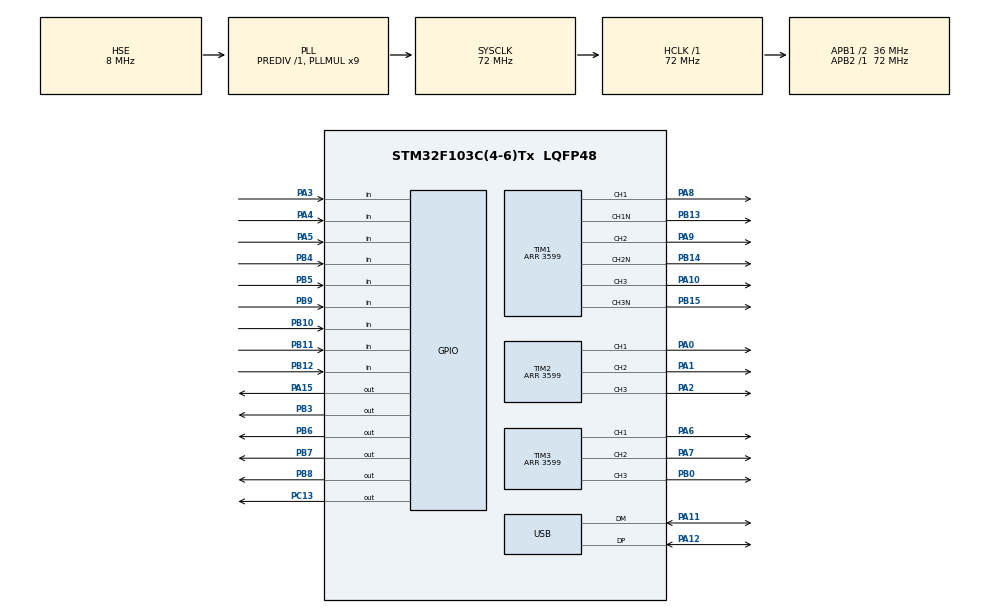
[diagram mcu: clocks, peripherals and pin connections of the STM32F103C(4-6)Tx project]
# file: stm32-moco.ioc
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Mcu.Family=STM32F1
Mcu.Name=STM32F103C(4-6)Tx
Mcu.Package=LQFP48
NVIC.PriorityGroup=NVIC_PRIORITYGROUP_4
NVIC.USB_LP_CAN1_RX0_IRQn=true\:0\:0\:false\:false\:true\:false\:true\:true
PA0-WKUP.Signal=S_TIM2_CH1_ETR
PA1.Signal=S_TIM2_CH2
PA10.Signal=S_TIM1_CH3
PA11.Mode=Device
PA11.Signal=USB_DM
PA12.Mode=Device
PA12.Signal=USB_DP
PA15.Signal=GPIO_Output
PA2.Signal=S_TIM2_CH3
PA3.Signal=GPIO_Input
PA4.Signal=GPIO_Input
PA5.Signal=GPIO_Input
PA6.Signal=S_TIM3_CH1
PA7.Signal=S_TIM3_CH2
PA8.Signal=S_TIM1_CH1
PA9.Signal=S_TIM1_CH2
PB0.Signal=S_TIM3_CH3
PB10.Signal=GPIO_Input
PB11.Signal=GPIO_Input
PB12.Signal=GPIO_Input
PB13.Mode=PWM Generation1 CH1 CH1N
PB13.Signal=TIM1_CH1N
PB14.Mode=PWM Generation2 CH2 CH2N
PB14.Signal=TIM1_CH2N
PB15.Mode=PWM Generation3 CH3 CH3N
PB15.Signal=TIM1_CH3N
PB3.Signal=GPIO_Output
PB4.Signal=GPIO_Input
PB5.Signal=GPIO_Input
PB6.Signal=GPIO_Output
PB7.Signal=GPIO_Output
PB8.Signal=GPIO_Output
PB9.Signal=GPIO_Input
PC13-TAMPER-RTC.Signal=GPIO_Output
PD0-OSC_IN.Mode=HSE-External-Oscillator
PD0-OSC_IN.Signal=RCC_OSC_IN
PD1-OSC_OUT.Mode=HSE-External-Oscillator
PD1-OSC_OUT.Signal=RCC_OSC_OUT
ProjectManager.HeapSize=0x200
ProjectManager.StackSize=0x400
ProjectManager.TargetToolchain=STM32CubeIDE
RCC.AHBFreq_Value=72000000
RCC.APB1CLKDivider=RCC_HCLK_DIV2
RCC.APB1Freq_Value=36000000
RCC.APB1TimFreq_Value=72000000
RCC.APB2Freq_Value=72000000
RCC.APB2TimFreq_Value=72000000
RCC.HCLKFreq_Value=72000000
RCC.PLLMUL=RCC_PLL_MUL9
RCC.SYSCLKFreq_VALUE=72000000
RCC.SYSCLKSource=RCC_SYSCLKSOURCE_PLLCLK
RCC.USBFreq_Value=48000000
RCC.USBPrescaler=RCC_USBCLKSOURCE_PLL_DIV1_5
SH.S_TIM1_CH1.0=TIM1_CH1,PWM Generation1 CH1 CH1N
SH.S_TIM1_CH2.0=TIM1_CH2,PWM Generation2 CH2 CH2N
SH.S_TIM1_CH3.0=TIM1_CH3,PWM Generation3 CH3 CH3N
SH.S_TIM2_CH1_ETR.0=TIM2_CH1,PWM Generation1 CH1
SH.S_TIM2_CH2.0=TIM2_CH2,PWM Generation2 CH2
SH.S_TIM2_CH3.0=TIM2_CH3,PWM Generation3 CH3
SH.S_TIM3_CH1.0=TIM3_CH1,PWM Generation1 CH1
SH.S_TIM3_CH2.0=TIM3_CH2,PWM Generation2 CH2
SH.S_TIM3_CH3.0=TIM3_CH3,PWM Generation3 CH3
TIM1.Channel-PWM\ Generation1\ CH1\ CH1N=TIM_CHANNEL_1
TIM1.Channel-PWM\ Generation2\ CH2\ CH2N=TIM_CHANNEL_2
TIM1.Channel-PWM\ Generation3\ CH3\ CH3N=TIM_CHANNEL_3
TIM1.Period=3599
TIM2.Channel-PWM\ Generation1\ CH1=TIM_CHANNEL_1
TIM2.Channel-PWM\ Generation2\ CH2=TIM_CHANNEL_2
TIM2.Channel-PWM\ Generation3\ CH3=TIM_CHANNEL_3
TIM2.Period=3599
TIM3.Channel-PWM\ Generation1\ CH1=TIM_CHANNEL_1
TIM3.Channel-PWM\ Generation2\ CH2=TIM_CHANNEL_2
TIM3.Channel-PWM\ Generation3\ CH3=TIM_CHANNEL_3
TIM3.Period=3599
USB_DEVICE.CLASS_NAME_FS=CDC
USB_DEVICE.VirtualMode=Cdc
USB_DEVICE.VirtualModeFS=Cdc_FS
VP_SYS_VS_ND.Mode=No_Debug
VP_TIM1_VS_ClockSourceINT.Mode=Internal
VP_TIM2_VS_ClockSourceINT.Mode=Internal
VP_TIM3_VS_ClockSourceINT.Mode=Internal
VP_USB_DEVICE_VS_USB_DEVICE_CDC_FS.Mode=CDC_FS
board=custom

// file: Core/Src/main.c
/* USER CODE BEGIN Header */
/**
  ******************************************************************************
  * @file           : main.c
  * @brief          : 3-axis BLDC motor controller - STM32F103C8T6 Blue Pill
  ******************************************************************************
  * Safe startup: all motor outputs default to OFF.
  * Comms: USB CDC virtual COM port (PA11/PA12) for Atomic Pi commands.
  * Debug: COMMS_Debug() sends "DBG:..." lines over same USB CDC port.
  *
  * FIRST BRING-UP CHECKLIST:
  *   1. Flash with BOOT0=1 via USB DFU or SWD.
  *   2. Connect USB to Atomic Pi. Open /dev/ttyACM0 at any baud (CDC ignores it).
  *   3. Send "P\n" - should receive "PONG\n" confirming comms.
  *   4. Send "?\n" to read all motor states (all disabled at boot).
  *   5. Enable motor 0 with "E0\n", set low duty "S0,180\n", watch Hall counts.
  *   6. Query counts with "?\n" - commut_count should increment if spinning.
  *   7. Emergency stop any time: send "DA\n".
  ******************************************************************************
  */
/* USER CODE END Header */
#include "main.h"
#include "usb_device.h"

/* USER CODE BEGIN Includes */
#include "motor_controller.h"
#include "usb_cdc_comms.h"
/* USER CODE END Includes */

/* USER CODE BEGIN PD */
#define STATUS_REPORT_INTERVAL_MS   1000U  /* Send periodic status every 1s */
#define LED_PIN                     GPIO_PIN_13
#define LED_PORT                    GPIOC
/* USER CODE END PD */

TIM_HandleTypeDef htim1;
TIM_HandleTypeDef htim2;
TIM_HandleTypeDef htim3;

/* USER CODE BEGIN PV */
static uint32_t g_last_status_ms = 0;
static uint32_t g_loop_count     = 0;
/* USER CODE END PV */

void SystemClock_Config(void);
static void MX_GPIO_Init(void);
static void MX_TIM1_Init(void);
static void MX_TIM2_Init(void);
static void MX_TIM3_Init(void);
/* USER CODE BEGIN PFP */
static void SendPeriodicStatus(void);
/* USER CODE END PFP */

int main(void)
{

  /* MCU Configuration--------------------------------------------------------*/

  /* Reset of all peripherals, Initializes the Flash interface and the Systick. */
  HAL_Init();

  /* Configure the system clock */
  SystemClock_Config();

  /* Initialize all configured peripherals */
  MX_GPIO_Init();
  MX_TIM1_Init();
  MX_TIM2_Init();
  MX_TIM3_Init();
  MX_USB_DEVICE_Init();
  /* USER CODE BEGIN 2 */

  /* --- Motor controller: safe defaults (all off) --- */
  MC_Init(&htim1, &htim3, &htim4);

  /* --- Comms layer --- */
  COMMS_Init();

  /* Blink LED once to signal ready */
  HAL_GPIO_WritePin(LED_PORT, LED_PIN, GPIO_PIN_RESET); /* LED on  */
  HAL_Delay(200);
  HAL_GPIO_WritePin(LED_PORT, LED_PIN, GPIO_PIN_SET);   /* LED off */

  COMMS_Debug("MOCO boot OK - all motors DISABLED");

  /* USER CODE END 2 */

  /* Infinite loop */
  while (1)
  {

    /* USER CODE BEGIN 3 */

    /* 1. Process incoming commands from Atomic Pi */
    COMMS_Tick();

    /* 2. Run Hall-sensor commutation for all motors */
    MC_CommutationTick();

    /* 3. Periodic status broadcast */
    uint32_t now = HAL_GetTick();
    if ((now - g_last_status_ms) >= STATUS_REPORT_INTERVAL_MS) {
        g_last_status_ms = now;
        SendPeriodicStatus();
    }

    g_loop_count++;
  }
  /* USER CODE END 3 */
}

void SystemClock_Config(void)
{
  RCC_OscInitTypeDef RCC_OscInitStruct = {0};
  RCC_ClkInitTypeDef RCC_ClkInitStruct = {0};
  RCC_PeriphCLKInitTypeDef PeriphClkInit = {0};

  /** Initializes the RCC Oscillators according to the specified parameters
  * in the RCC_OscInitTypeDef structure.
  */
  RCC_OscInitStruct.OscillatorType = RCC_OSCILLATORTYPE_HSE;
  RCC_OscInitStruct.HSEState = RCC_HSE_ON;
  RCC_OscInitStruct.HSEPredivValue = RCC_HSE_PREDIV_DIV1;
  RCC_OscInitStruct.HSIState = RCC_HSI_ON;
  RCC_OscInitStruct.PLL.PLLState = RCC_PLL_ON;
  RCC_OscInitStruct.PLL.PLLSource = RCC_PLLSOURCE_HSE;
  RCC_OscInitStruct.PLL.PLLMUL = RCC_PLL_MUL9;
  if (HAL_RCC_OscConfig(&RCC_OscInitStruct) != HAL_OK)
  {
    Error_Handler();
  }

  /** Initializes the CPU, AHB and APB buses clocks
  */
  RCC_ClkInitStruct.ClockType = RCC_CLOCKTYPE_HCLK|RCC_CLOCKTYPE_SYSCLK
                              |RCC_CLOCKTYPE_PCLK1|RCC_CLOCKTYPE_PCLK2;
  RCC_ClkInitStruct.SYSCLKSource = RCC_SYSCLKSOURCE_PLLCLK;
  RCC_ClkInitStruct.AHBCLKDivider = RCC_SYSCLK_DIV1;
  RCC_ClkInitStruct.APB1CLKDivider = RCC_HCLK_DIV2;
  RCC_ClkInitStruct.APB2CLKDivider = RCC_HCLK_DIV1;

  if (HAL_RCC_ClockConfig(&RCC_ClkInitStruct, FLASH_LATENCY_2) != HAL_OK)
  {
    Error_Handler();
  }
  PeriphClkInit.PeriphClockSelection = RCC_PERIPHCLK_USB;
  PeriphClkInit.UsbClockSelection = RCC_USBCLKSOURCE_PLL_DIV1_5;
  if (HAL_RCCEx_PeriphCLKConfig(&PeriphClkInit) != HAL_OK)
  {
    Error_Handler();
  }
}

static void MX_TIM1_Init(void)
{

  TIM_ClockConfigTypeDef sClockSourceConfig = {0};
  TIM_MasterConfigTypeDef sMasterConfig = {0};
  TIM_OC_InitTypeDef sConfigOC = {0};
  TIM_BreakDeadTimeConfigTypeDef sBreakDeadTimeConfig = {0};

  htim1.Instance = TIM1;
  htim1.Init.Prescaler = 0;
  htim1.Init.CounterMode = TIM_COUNTERMODE_UP;
  htim1.Init.Period = 3599;
  htim1.Init.ClockDivision = TIM_CLOCKDIVISION_DIV1;
  htim1.Init.RepetitionCounter = 0;
  htim1.Init.AutoReloadPreload = TIM_AUTORELOAD_PRELOAD_DISABLE;
  if (HAL_TIM_Base_Init(&htim1) != HAL_OK)
  {
    Error_Handler();
  }
  sClockSourceConfig.ClockSource = TIM_CLOCKSOURCE_INTERNAL;
  if (HAL_TIM_ConfigClockSource(&htim1, &sClockSourceConfig) != HAL_OK)
  {
    Error_Handler();
  }
  if (HAL_TIM_PWM_Init(&htim1) != HAL_OK)
  {
    Error_Handler();
  }
  sMasterConfig.MasterOutputTrigger = TIM_TRGO_RESET;
  sMasterConfig.MasterSlaveMode = TIM_MASTERSLAVEMODE_DISABLE;
  if (HAL_TIMEx_MasterConfigSynchronization(&htim1, &sMasterConfig) != HAL_OK)
  {
    Error_Handler();
  }
  sConfigOC.OCMode = TIM_OCMODE_PWM1;
  sConfigOC.Pulse = 0;
  sConfigOC.OCPolarity = TIM_OCPOLARITY_HIGH;
  sConfigOC.OCNPolarity = TIM_OCNPOLARITY_HIGH;
  sConfigOC.OCFastMode = TIM_OCFAST_DISABLE;
  sConfigOC.OCIdleState = TIM_OCIDLESTATE_RESET;
  sConfigOC.OCNIdleState = TIM_OCNIDLESTATE_RESET;
  if (HAL_TIM_PWM_ConfigChannel(&htim1, &sConfigOC, TIM_CHANNEL_1) != HAL_OK)
  {
    Error_Handler();
  }
  if (HAL_TIM_PWM_ConfigChannel(&htim1, &sConfigOC, TIM_CHANNEL_2) != HAL_OK)
  {
    Error_Handler();
  }
  if (HAL_TIM_PWM_ConfigChannel(&htim1, &sConfigOC, TIM_CHANNEL_3) != HAL_OK)
  {
    Error_Handler();
  }
  sBreakDeadTimeConfig.OffStateRunMode = TIM_OSSR_DISABLE;
  sBreakDeadTimeConfig.OffStateIDLEMode = TIM_OSSI_DISABLE;
  sBreakDeadTimeConfig.LockLevel = TIM_LOCKLEVEL_OFF;
  sBreakDeadTimeConfig.DeadTime = 0;
  sBreakDeadTimeConfig.BreakState = TIM_BREAK_DISABLE;
  sBreakDeadTimeConfig.BreakPolarity = TIM_BREAKPOLARITY_HIGH;
  sBreakDeadTimeConfig.AutomaticOutput = TIM_AUTOMATICOUTPUT_DISABLE;
  if (HAL_TIMEx_ConfigBreakDeadTime(&htim1, &sBreakDeadTimeConfig) != HAL_OK)
  {
    Error_Handler();
  }
  HAL_TIM_MspPostInit(&htim1);

}

static void MX_TIM2_Init(void)
{

  TIM_ClockConfigTypeDef sClockSourceConfig = {0};
  TIM_MasterConfigTypeDef sMasterConfig = {0};
  TIM_OC_InitTypeDef sConfigOC = {0};

  htim2.Instance = TIM2;
  htim2.Init.Prescaler = 0;
  htim2.Init.CounterMode = TIM_COUNTERMODE_UP;
  htim2.Init.Period = 3599;
  htim2.Init.ClockDivision = TIM_CLOCKDIVISION_DIV1;
  htim2.Init.AutoReloadPreload = TIM_AUTORELOAD_PRELOAD_DISABLE;
  if (HAL_TIM_Base_Init(&htim2) != HAL_OK)
  {
    Error_Handler();
  }
  sClockSourceConfig.ClockSource = TIM_CLOCKSOURCE_INTERNAL;
  if (HAL_TIM_ConfigClockSource(&htim2, &sClockSourceConfig) != HAL_OK)
  {
    Error_Handler();
  }
  if (HAL_TIM_PWM_Init(&htim2) != HAL_OK)
  {
    Error_Handler();
  }
  sMasterConfig.MasterOutputTrigger = TIM_TRGO_RESET;
  sMasterConfig.MasterSlaveMode = TIM_MASTERSLAVEMODE_DISABLE;
  if (HAL_TIMEx_MasterConfigSynchronization(&htim2, &sMasterConfig) != HAL_OK)
  {
    Error_Handler();
  }
  sConfigOC.OCMode = TIM_OCMODE_PWM1;
  sConfigOC.Pulse = 0;
  sConfigOC.OCPolarity = TIM_OCPOLARITY_HIGH;
  sConfigOC.OCFastMode = TIM_OCFAST_DISABLE;
  if (HAL_TIM_PWM_ConfigChannel(&htim2, &sConfigOC, TIM_CHANNEL_1) != HAL_OK)
  {
    Error_Handler();
  }
  if (HAL_TIM_PWM_ConfigChannel(&htim2, &sConfigOC, TIM_CHANNEL_2) != HAL_OK)
  {
    Error_Handler();
  }
  if (HAL_TIM_PWM_ConfigChannel(&htim2, &sConfigOC, TIM_CHANNEL_3) != HAL_OK)
  {
    Error_Handler();
  }
  HAL_TIM_MspPostInit(&htim2);

}

static void MX_TIM3_Init(void)
{

  TIM_ClockConfigTypeDef sClockSourceConfig = {0};
  TIM_MasterConfigTypeDef sMasterConfig = {0};
  TIM_OC_InitTypeDef sConfigOC = {0};

  htim3.Instance = TIM3;
  htim3.Init.Prescaler = 0;
  htim3.Init.CounterMode = TIM_COUNTERMODE_UP;
  htim3.Init.Period = 3599;
  htim3.Init.ClockDivision = TIM_CLOCKDIVISION_DIV1;
  htim3.Init.AutoReloadPreload = TIM_AUTORELOAD_PRELOAD_DISABLE;
  if (HAL_TIM_Base_Init(&htim3) != HAL_OK)
  {
    Error_Handler();
  }
  sClockSourceConfig.ClockSource = TIM_CLOCKSOURCE_INTERNAL;
  if (HAL_TIM_ConfigClockSource(&htim3, &sClockSourceConfig) != HAL_OK)
  {
    Error_Handler();
  }
  if (HAL_TIM_PWM_Init(&htim3) != HAL_OK)
  {
    Error_Handler();
  }
  sMasterConfig.MasterOutputTrigger = TIM_TRGO_RESET;
  sMasterConfig.MasterSlaveMode = TIM_MASTERSLAVEMODE_DISABLE;
  if (HAL_TIMEx_MasterConfigSynchronization(&htim3, &sMasterConfig) != HAL_OK)
  {
    Error_Handler();
  }
  sConfigOC.OCMode = TIM_OCMODE_PWM1;
  sConfigOC.Pulse = 0;
  sConfigOC.OCPolarity = TIM_OCPOLARITY_HIGH;
  sConfigOC.OCFastMode = TIM_OCFAST_DISABLE;
  if (HAL_TIM_PWM_ConfigChannel(&htim3, &sConfigOC, TIM_CHANNEL_1) != HAL_OK)
  {
    Error_Handler();
  }
  if (HAL_TIM_PWM_ConfigChannel(&htim3, &sConfigOC, TIM_CHANNEL_2) != HAL_OK)
  {
    Error_Handler();
  }
  if (HAL_TIM_PWM_ConfigChannel(&htim3, &sConfigOC, TIM_CHANNEL_3) != HAL_OK)
  {
    Error_Handler();
  }
  HAL_TIM_MspPostInit(&htim3);

}

static void MX_GPIO_Init(void)
{
  GPIO_InitTypeDef GPIO_InitStruct = {0};

  /* GPIO Ports Clock Enable */
  __HAL_RCC_GPIOC_CLK_ENABLE();
  __HAL_RCC_GPIOD_CLK_ENABLE();
  __HAL_RCC_GPIOA_CLK_ENABLE();
  __HAL_RCC_GPIOB_CLK_ENABLE();

  /*Configure GPIO pin Output Level */
  HAL_GPIO_WritePin(GPIOC, GPIO_PIN_13, GPIO_PIN_RESET);

  /*Configure GPIO pin Output Level */
  HAL_GPIO_WritePin(GPIOA, GPIO_PIN_15, GPIO_PIN_RESET);

  /*Configure GPIO pin Output Level */
  HAL_GPIO_WritePin(GPIOB, GPIO_PIN_3|GPIO_PIN_6|GPIO_PIN_7|GPIO_PIN_8, GPIO_PIN_RESET);

  /*Configure GPIO pin : PC13 */
  GPIO_InitStruct.Pin = GPIO_PIN_13;
  GPIO_InitStruct.Mode = GPIO_MODE_OUTPUT_PP;
  GPIO_InitStruct.Pull = GPIO_NOPULL;
  GPIO_InitStruct.Speed = GPIO_SPEED_FREQ_LOW;
  HAL_GPIO_Init(GPIOC, &GPIO_InitStruct);

  /*Configure GPIO pins : PA3 PA4 PA5 */
  GPIO_InitStruct.Pin = GPIO_PIN_3|GPIO_PIN_4|GPIO_PIN_5;
  GPIO_InitStruct.Mode = GPIO_MODE_INPUT;
  GPIO_InitStruct.Pull = GPIO_NOPULL;
  HAL_GPIO_Init(GPIOA, &GPIO_InitStruct);

  /*Configure GPIO pins : PB10 PB11 PB12 PB4
                           PB5 PB9 */
  GPIO_InitStruct.Pin = GPIO_PIN_10|GPIO_PIN_11|GPIO_PIN_12|GPIO_PIN_4
                          |GPIO_PIN_5|GPIO_PIN_9;
  GPIO_InitStruct.Mode = GPIO_MODE_INPUT;
  GPIO_InitStruct.Pull = GPIO_NOPULL;
  HAL_GPIO_Init(GPIOB, &GPIO_InitStruct);

  /*Configure GPIO pin : PA15 */
  GPIO_InitStruct.Pin = GPIO_PIN_15;
  GPIO_InitStruct.Mode = GPIO_MODE_OUTPUT_PP;
  GPIO_InitStruct.Pull = GPIO_NOPULL;
  GPIO_InitStruct.Speed = GPIO_SPEED_FREQ_LOW;
  HAL_GPIO_Init(GPIOA, &GPIO_InitStruct);

  /*Configure GPIO pins : PB3 PB6 PB7 PB8 */
  GPIO_InitStruct.Pin = GPIO_PIN_3|GPIO_PIN_6|GPIO_PIN_7|GPIO_PIN_8;
  GPIO_InitStruct.Mode = GPIO_MODE_OUTPUT_PP;
  GPIO_InitStruct.Pull = GPIO_NOPULL;
  GPIO_InitStruct.Speed = GPIO_SPEED_FREQ_LOW;
  HAL_GPIO_Init(GPIOB, &GPIO_InitStruct);

}

/* USER CODE BEGIN 4 */
static void SendPeriodicStatus(void)
{
    /* Only send if host is connected (avoids flooding before enumeration) */
    if (!COMMS_IsConnected()) return;

    char buf[128];
    for (uint8_t m = 0; m < MOTOR_COUNT; m++) {
        MotorState_t s = MC_GetState(m);
        snprintf(buf, sizeof(buf) - 1,
                 "STATUS:%u,%u,%lu,%u,%lu,%lu\n",
                 m, s.enabled, s.duty,
                 (unsigned)s.direction,
                 s.commut_count, s.hall_errors);
        COMMS_Send(buf);
    }
}
/* USER CODE END 4 */

void Error_Handler(void)
{
  /* USER CODE BEGIN Error_Handler_Debug */
  MC_DisableAll(); /* Safe: kill motors on any HAL fault */
  __disable_irq();
  /* Blink LED rapidly to signal fault */
  while (1) {
    HAL_GPIO_TogglePin(LED_PORT, LED_PIN);
    for (volatile uint32_t i = 0; i < 200000; i++);
  }
  /* USER CODE END Error_Handler_Debug */
}
#ifdef USE_FULL_ASSERT
/**
  * @brief  Reports the name of the source file and the source line number
  *         where the assert_param error has occurred.
  * @param  file: pointer to the source file name
  * @param  line: assert_param error line source number
  * @retval None
  */
void assert_failed(uint8_t *file, uint32_t line)
{
  /* USER CODE BEGIN 6 */
  (void)file; (void)line;
  /* USER CODE END 6 */
}
#endif /* USE_FULL_ASSERT */
